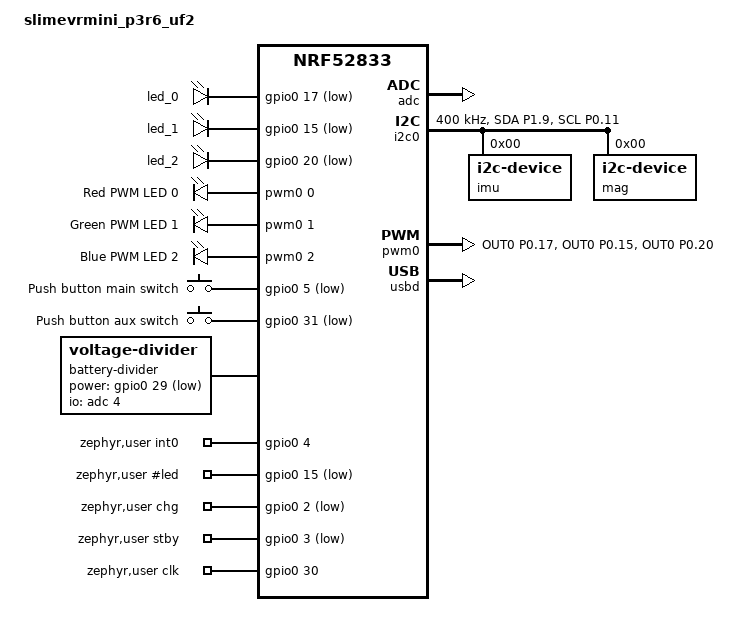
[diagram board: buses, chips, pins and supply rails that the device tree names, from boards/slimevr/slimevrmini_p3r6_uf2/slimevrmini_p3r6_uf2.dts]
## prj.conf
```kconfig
#CONFIG_NCS_SAMPLES_DEFAULTS
CONFIG_ASSERT=y
CONFIG_ASSERT_NO_COND_INFO=y
CONFIG_ASSERT_NO_MSG_INFO=y
CONFIG_RESET_ON_FATAL_ERROR=y

CONFIG_NCS_APPLICATION_BOOT_BANNER_STRING="SlimeVR-Tracker-nRF"
#CONFIG_NCS_BOOT_BANNER=n
CONFIG_BOOT_BANNER=n

CONFIG_ESB=y

CONFIG_ADC=y
CONFIG_ADC_NRFX_SAADC=y
CONFIG_FPU=y
CONFIG_I2C=y
CONFIG_SPI=y
CONFIG_PINCTRL=y

CONFIG_NVS=y
CONFIG_NVS_LOOKUP_CACHE=y
#not available on this sdk version
#CONFIG_NVS_INIT_BAD_MEMORY_REGION=y

CONFIG_POWEROFF=y
CONFIG_REBOOT=y

CONFIG_FLASH=y
CONFIG_FLASH_PAGE_LAYOUT=y
CONFIG_FLASH_MAP=y

CONFIG_SETTINGS=y
CONFIG_SETTINGS_RUNTIME=y
CONFIG_SETTINGS_NONE=y

CONFIG_MPU_ALLOW_FLASH_WRITE=y

CONFIG_RETAINED_MEM=y

CONFIG_USE_SEGGER_RTT=y
CONFIG_LOG=y
#CONFIG_PRINTK=y
CONFIG_LOG_MODE_DEFERRED=y
CONFIG_LOG_SPEED=y
CONFIG_LOG_BACKEND_RTT=y
CONFIG_CBPRINTF_FP_SUPPORT=y
CONFIG_ADC_LOG_LEVEL_OFF=y
CONFIG_LOG_FUNC_NAME_PREFIX_ERR=y
CONFIG_LOG_BUFFER_SIZE=1536
CONFIG_LOG_BACKEND_UART_AUTOSTART=n
CONFIG_LOG_PROCESS_THREAD_SLEEP_MS=50
CONFIG_LOG_PROCESS_THREAD_STACK_SIZE=1024

CONFIG_PWM=y
CONFIG_GPIO=y

CONFIG_CRC=y

CONFIG_NEWLIB_LIBC=y
CONFIG_NRFX_TIMER1=y

#speed up boot? (use internal rc oscillator)
CONFIG_CLOCK_CONTROL_NRF_K32SRC_RC=y
CONFIG_CLOCK_CONTROL_NRF_K32SRC_RC_CALIBRATION=n
#speed up boot? (synthesize lf clock)
#CONFIG_CLOCK_CONTROL_NRF_K32SRC_SYNTH=y

# dont need it
CONFIG_CRYPTO=n

# set timeout for 25ms, sufficient for ~1000 bytes
CONFIG_I2C_NRFX_TRANSFER_TIMEOUT=25

CONFIG_USB_DEVICE_HID=y
CONFIG_USB_DEVICE_VID=0x1209
CONFIG_USB_DEVICE_PID=0x7692
CONFIG_USB_HID_BOOT_PROTOCOL=y
CONFIG_USB_DEVICE_INITIALIZE_AT_BOOT=n
CONFIG_USB_CDC_ACM=y
CONFIG_UART_INTERRUPT_DRIVEN=y
CONFIG_USB_WORKQUEUE_STACK_SIZE=512

CONFIG_SERIAL=y
CONFIG_CONSOLE=y
CONFIG_RTT_CONSOLE=y
CONFIG_UART_CONSOLE=y
CONFIG_UART_LINE_CTRL=y

CONFIG_LOG=y
CONFIG_USB_DRIVER_LOG_LEVEL_ERR=y
CONFIG_USB_DEVICE_LOG_LEVEL_ERR=y
CONFIG_USB_CDC_ACM_LOG_LEVEL_OFF=y

CONFIG_LOG_BACKEND_UART=y

CONFIG_CONSOLE_SUBSYS=y
CONFIG_CONSOLE_GETLINE=y

CONFIG_NVS_LOG_LEVEL_WRN=y
CONFIG_USB_HID_LOG_LEVEL_WRN=y

CONFIG_USB_DEVICE_SOF=y
CONFIG_USB_HID_REPORTS=256

#CONFIG_USB_HID_POLL_INTERVAL_MS=1
CONFIG_USB_HID_POLL_INTERVAL_MS=0
CONFIG_HID_INTERRUPT_EP_MPS=64
#CONFIG_ENABLE_HID_INT_OUT_EP=y

CONFIG_SYSTEM_WORKQUEUE_STACK_SIZE=256
CONFIG_MAIN_STACK_SIZE=512

CONFIG_THREAD_NAME=y

# TODO: because of icm426, this will break things and needs to be raised to at least 3k
CONFIG_HEAP_MEM_POOL_SIZE=2048
CONFIG_ISR_STACK_SIZE=1024

CONFIG_PM_DEVICE=y

CONFIG_SENSOR_USE_MAG=n

CONFIG_LED_DEFAULT_COLOR_R=4000
CONFIG_LED_DEFAULT_COLOR_G=1500
CONFIG_LED_DEFAULT_COLOR_B=2500
```

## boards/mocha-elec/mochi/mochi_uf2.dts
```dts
// Copyright (c) 2024 Nordic Semiconductor ASA
// SPDX-License-Identifier: Apache-2.0

/dts-v1/;
#include <nordic/nrf52833_qiaa.dtsi>

//move to dtsi?
&pinctrl {
	pwm0_default: pwm0_default {
		group1 {
			psels = <NRF_PSEL(PWM_OUT0, 0, 20)>, // Red
				<NRF_PSEL(PWM_OUT1, 0, 9)>, // Green
				<NRF_PSEL(PWM_OUT2, 0, 17)>; // Blue
			nordic,drive-mode = <NRF_DRIVE_D0S1>;
		};
	};

	pwm0_sleep: pwm0_sleep {
		group1 {
			psels = <NRF_PSEL(PWM_OUT0, 0, 20)>, // Red
				<NRF_PSEL(PWM_OUT1, 0, 9)>, // Green
				<NRF_PSEL(PWM_OUT2, 0, 17)>; // Blue
			low-power-enable;
		};
	};

	spi3_default: spi3_default {
		group1 {
			psels = <NRF_PSEL(SPIM_MISO, 1, 9)>,
					<NRF_PSEL(SPIM_MOSI, 0, 5)>,
					<NRF_PSEL(SPIM_SCK, 0, 4)>;
		};
	};

	spi3_sleep: spi3_sleep {
		group1 {
			psels = <NRF_PSEL(SPIM_MISO, 1, 9)>,
					<NRF_PSEL(SPIM_MOSI, 0, 5)>,
					<NRF_PSEL(SPIM_SCK, 0, 4)>;
			low-power-enable;
		};
	};
};
//end

/ {
	model = "mochi_uf2";
	compatible = "mochi_uf2";

	chosen {
		zephyr,sram = &sram0;
		zephyr,flash = &flash0;
		zephyr,console = &cdc_acm_uart0;
		zephyr,shell-uart = &cdc_acm_uart0;
	};

	pwmleds {
		compatible = "pwm-leds";
		pwm_led0: pwm_led_0 {
			pwms = <&pwm0 0 PWM_MSEC(1) PWM_POLARITY_NORMAL>;
		};
		pwm_led1: pwm_led_1 {
			pwms = <&pwm0 1 PWM_MSEC(1) PWM_POLARITY_NORMAL>;
		};
		pwm_led2: pwm_led_2 {
			pwms = <&pwm0 2 PWM_MSEC(1) PWM_POLARITY_NORMAL>;
		};
	};

	leds {
        compatible = "gpio-leds";
        led0: led_0 {
            gpios = <&gpio0 20 GPIO_OPEN_SOURCE>;
        };
        led1: led_1 {
            gpios = <&gpio0 9 GPIO_OPEN_SOURCE>;
        };
        led2: led_2 {
            gpios = <&gpio0 17 GPIO_OPEN_SOURCE>;
        };
    };

	buttons {
		compatible = "gpio-keys";
		button0: button_0 {
			gpios = <&gpio0 15 (GPIO_PULL_UP | GPIO_ACTIVE_LOW)>;
			label = "Push button switch 0";
		};
	};

	aliases {
		sw0 = &button0;
		pwm-led0 = &pwm_led0;
		pwm-led1 = &pwm_led1;
		pwm-led2 = &pwm_led2;
		led0 = &led0;
		led1 = &led1;
		led2 = &led2;
	};

	battery-divider {
		compatible = "voltage-divider";
		status = "okay";
		io-channels = <&adc 7>;
		output-ohms = <3300000>;
		full-ohms = <(5600000+3300000)>;
	};

	zephyr,user {
		int0-gpios = <&gpio0 11 0>;
		chg-gpios = <&gpio0 28 (GPIO_ACTIVE_LOW | GPIO_PULL_UP)>;
		chg-en-gpios = <&gpio0 2 (GPIO_ACTIVE_HIGH | GPIO_PULL_UP)>;
		stby-gpios = <&gpio0 29 (GPIO_ACTIVE_LOW | GPIO_PULL_UP)>;
		clk-gpios = <&gpio0 30 (GPIO_OPEN_DRAIN)>;
		led0-gpios = <&gpio0 20 (GPIO_OPEN_SOURCE)>;
		led1-gpios = <&gpio0 9 (GPIO_OPEN_SOURCE)>;
		led2-gpios = <&gpio0 17 (GPIO_OPEN_SOURCE)>;
	};

};

&reg1 {
	regulator-initial-mode = <NRF5X_REG_MODE_DCDC>;
};

&adc {
	status = "okay";
};

&gpiote {
	status = "okay";
};

&gpio0 {
	status = "okay";
};

&gpio1 {
	status = "okay";
};

&pwm0 {
	status = "okay";
	pinctrl-0 = <&pwm0_default>;
	pinctrl-1 = <&pwm0_sleep>;
	pinctrl-names = "default", "sleep";
};

zephyr_udc0: &usbd {
	compatible = "nordic,nrf-usbd";
	status = "okay";
	cdc_acm_uart0: cdc_acm_uart0 {
		compatible = "zephyr,cdc-acm-uart";
	};
};

&nfct {
	status = "disabled";
};

&spi3 {
	compatible = "nordic,nrf-spim";
	status = "okay";
	max-frequency = <DT_FREQ_M(24)>;
	pinctrl-0 = <&spi3_default>;
	pinctrl-1 = <&spi3_sleep>;
	pinctrl-names = "default", "sleep";
	cs-gpios = <&gpio0 1 GPIO_ACTIVE_LOW>;

	imu_spi: imu_spi@0 {
		compatible = "vnd,spi-device";
		spi-max-frequency = <DT_FREQ_M(24)>;
		label = "imu-spi";
		reg = <0>;
	};
};
```

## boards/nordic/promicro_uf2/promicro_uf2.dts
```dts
// Copyright (c) 2024 Nordic Semiconductor ASA
// SPDX-License-Identifier: Apache-2.0

/dts-v1/;
#include <nordic/nrf52840_qiaa.dtsi>

//move to dtsi?
&pinctrl {
	i2c0_default: i2c0_default {
		group1 {
			psels = <NRF_PSEL(TWIM_SDA, 0, 6)>, <NRF_PSEL(TWIM_SCL, 0, 8)>;
			bias-disable;
		};
	};

	i2c0_sleep: i2c0_sleep {
		group1 {
			psels = <NRF_PSEL(TWIM_SDA, 0, 6)>, <NRF_PSEL(TWIM_SCL, 0, 8)>;
			bias-disable;
			low-power-enable;
		};
	};

	pwm0_default: pwm0_default {
		group1 {
			psels = <NRF_PSEL(PWM_OUT0, 0, 15)>;
			nordic,drive-mode = <NRF_DRIVE_D0S1>;
		};
	};

	pwm0_sleep: pwm0_sleep {
		group1 {
			psels = <NRF_PSEL(PWM_OUT0, 0, 15)>;
			low-power-enable;
		};
	};

	pwm1_default: pwm1_default {
		group1 {
			psels = <NRF_PIN_DISCONNECTED>;
		};
	};

	pwm1_sleep: pwm1_sleep {
		group1 {
			psels = <NRF_PIN_DISCONNECTED>;
			low-power-enable;
		};
	};

	spi3_default: spi3_default {
		group1 {
			psels = <NRF_PSEL(SPIM_MISO, 0, 24)>,
					<NRF_PSEL(SPIM_MOSI, 0, 6)>,
					<NRF_PSEL(SPIM_SCK, 0, 8)>;
		};
	};

	spi3_sleep: spi3_sleep {
		group1 {
			psels = <NRF_PSEL(SPIM_MISO, 0, 24)>,
					<NRF_PSEL(SPIM_MOSI, 0, 6)>,
					<NRF_PSEL(SPIM_SCK, 0, 8)>;
			low-power-enable;
		};
	};
};
//end

/ {
	model = "promicro_uf2";
	compatible = "promicro_uf2";

	chosen {
		zephyr,sram = &sram0;
		zephyr,flash = &flash0;
		zephyr,console = &cdc_acm_uart0;
		zephyr,shell-uart = &cdc_acm_uart0;
	};

	pwmleds {
		compatible = "pwm-leds";
		pwm_led0: pwm_led_0 {
			pwms = <&pwm0 0 PWM_MSEC(1) PWM_POLARITY_NORMAL>;
		};
	};

	buttons {
		compatible = "gpio-keys";
		button0: button_0 {
			gpios = <&gpio1 0 (GPIO_PULL_UP | GPIO_ACTIVE_LOW)>;
			label = "Push button switch 0";
		};
	};

	aliases {
		// sw0 = &button0; // Uncomment to Enable SW0
		pwm-led0 = &pwm_led0;
	};

	pwmclock: pwmclock {
		compatible = "pwm-clock";
		#clock-cells = <1>;
		pwms = <&pwm1 0 PWM_HZ(32768) PWM_POLARITY_NORMAL>;
	};

	battery-divider {
		compatible = "voltage-divider";
		status = "okay";
		io-channels = <&adc 12>; // Measure VDDHDIV5
		output-ohms = <1>;
		full-ohms = <5>;
	};

	zephyr,user {
		int0-gpios = <&gpio0 17 0>;
		led-gpios = <&gpio0 15 GPIO_OPEN_SOURCE>;
		clk-gpios = <&gpio0 20 GPIO_OPEN_DRAIN>; // Uncomment and set to correct pin if using an external clock (crystal oscillator)
		vcc-gpios = <&gpio0 31 0>;
	};

};

&reg0 {
	status = "okay";
};

&reg1 {
	regulator-initial-mode = <NRF5X_REG_MODE_DCDC>;
};

&adc {
	status = "okay";
};

&gpiote {
	status = "okay";
};

&gpio0 {
	status = "okay";
};

&gpio1 {
	status = "okay";
};

&i2c0 {
	compatible = "nordic,nrf-twim";
	status = "okay";
	zephyr,concat-buf-size = <1023>;
	zephyr,flash-buf-max-size = <1023>;
	clock-frequency = <I2C_BITRATE_FAST>;
	pinctrl-0 = <&i2c0_default>;
	pinctrl-1 = <&i2c0_sleep>;
	pinctrl-names = "default", "sleep";

	imu: imu@0 { // any address out of range (00, 7f, etc. will search all addresses and stored address first if available, specify an address here to search first otherwise
		compatible = "i2c-device";
		label = "imu";
		reg = <0>;
	};

	mag: mag@0 {
		compatible = "i2c-device";
		label = "mag";
		reg = <0>;
	};

};

&pwm0 {
	status = "okay";
	pinctrl-0 = <&pwm0_default>;
	pinctrl-1 = <&pwm0_sleep>;
	pinctrl-names = "default", "sleep";
};

&pwm1 {
	status = "okay";
	pinctrl-0 = <&pwm1_default>;
	pinctrl-1 = <&pwm1_sleep>;
	pinctrl-names = "default", "sleep";
};

zephyr_udc0: &usbd {
	compatible = "nordic,nrf-usbd";
	status = "okay";
	cdc_acm_uart0: cdc_acm_uart0 {
		compatible = "zephyr,cdc-acm-uart";
	};
};

&cryptocell {
	status = "disabled";
};

&nfct {
	status = "disabled";
};

&spi3 {
	compatible = "nordic,nrf-spim";
	status = "okay";
	max-frequency = <DT_FREQ_M(24)>;
	pinctrl-0 = <&spi3_default>;
	pinctrl-1 = <&spi3_sleep>;
	pinctrl-names = "default", "sleep";
	cs-gpios = <&gpio0 22 GPIO_ACTIVE_LOW>;

	imu_spi: imu_spi@0 {
		compatible = "vnd,spi-device";
		spi-max-frequency = <DT_FREQ_M(24)>;
		label = "imu-spi";
		reg = <0>;
	};
};
```

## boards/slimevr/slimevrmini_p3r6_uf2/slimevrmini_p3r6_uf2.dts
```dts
// Copyright (c) 2024 Nordic Semiconductor ASA
// SPDX-License-Identifier: Apache-2.0

/dts-v1/;
#include <nordic/nrf52833_qiaa.dtsi>

//move to dtsi?
&pinctrl {
	i2c0_default: i2c0_default {
		group1 {
			psels = <NRF_PSEL(TWIM_SDA, 1, 9)>, <NRF_PSEL(TWIM_SCL, 0, 11)>;
			bias-disable;
		};
	};

	i2c0_sleep: i2c0_sleep {
		group1 {
			psels = <NRF_PSEL(TWIM_SDA, 1, 9)>, <NRF_PSEL(TWIM_SCL, 0, 11)>;
			bias-disable;
			low-power-enable;
		};
	};

	pwm0_default: pwm0_default {
		group1 {
			psels = <NRF_PSEL(PWM_OUT0, 0, 17)>,
				<NRF_PSEL(PWM_OUT0, 0, 15)>,
				<NRF_PSEL(PWM_OUT0, 0, 20)>;
			nordic,drive-mode = <NRF_DRIVE_D0S1>;
			nordic,invert;
		};
	};

	pwm0_sleep: pwm0_sleep {
		group1 {
			psels = <NRF_PSEL(PWM_OUT0, 0, 17)>,
				<NRF_PSEL(PWM_OUT0, 0, 15)>,
				<NRF_PSEL(PWM_OUT0, 0, 20)>;
			low-power-enable;
		};
	};
};
//end

/ {
	model = "slimevrmini_p3r6_uf2";
	compatible = "slimevrmini_p3r6_uf2";

	chosen {
		zephyr,sram = &sram0;
		zephyr,flash = &flash0;
		zephyr,console = &cdc_acm_uart0;
		zephyr,shell-uart = &cdc_acm_uart0;
	};
	
	leds {
		compatible = "gpio-leds";
		status = "okay";
		led_0: led_0 {
			gpios = <&gpio0 17 (GPIO_OPEN_DRAIN | GPIO_ACTIVE_LOW)>;
		};
		led_1: led_1 {
			gpios = <&gpio0 15 (GPIO_OPEN_DRAIN | GPIO_ACTIVE_LOW)>;
		};
		led_2: led_2 {
			gpios = <&gpio0 20 (GPIO_OPEN_DRAIN | GPIO_ACTIVE_LOW)>;
		};
	};

	pwmleds {
		compatible = "pwm-leds";
		pwm_led0: pwm_led_0 {
			pwms = <&pwm0 0 PWM_MSEC(1) PWM_POLARITY_INVERTED>;
			label = "Red PWM LED 0";
		};
		pwm_led1: pwm_led_1 {
			pwms = <&pwm0 1 PWM_MSEC(1) PWM_POLARITY_INVERTED>;
			label = "Green PWM LED 1";
		};
		pwm_led2: pwm_led_2 {
			pwms = <&pwm0 2 PWM_MSEC(1) PWM_POLARITY_INVERTED>;
			label = "Blue PWM LED 2";
		};
	};

	buttons {
		compatible = "gpio-keys";
		button0: button_0 {
			gpios = <&gpio0 5 (GPIO_PULL_UP | GPIO_ACTIVE_LOW)>;
			label = "Push button main switch";
		};
		button1: button_1 {
			gpios = <&gpio0 31 (GPIO_PULL_UP | GPIO_ACTIVE_LOW)>;
			label = "Push button aux switch";
		};
	};

	aliases {
		sw0 = &button0;
		sw1 = &button1;
		led0 = &led_0;
		led1 = &led_1;
		led2 = &led_2;
		pwm-led0 = &pwm_led0;
		pwm-led1 = &pwm_led1;
		pwm-led2 = &pwm_led2;
	};

	battery-divider {
		compatible = "voltage-divider";
		status = "okay";
		io-channels = <&adc 4>;
		output-ohms = <40200>;
		full-ohms = <(100000+40200)>;
		power-gpios = <&gpio0 29 (GPIO_OPEN_DRAIN | GPIO_ACTIVE_LOW)>;
	};

	zephyr,user {
		int0-gpios = <&gpio0 4 0>;
		#led-gpios = <&gpio0 15 (GPIO_OPEN_DRAIN | GPIO_ACTIVE_LOW)>;
		chg-gpios = <&gpio0 2 (GPIO_ACTIVE_LOW | GPIO_PULL_UP)>;
		stby-gpios = <&gpio0 3 (GPIO_ACTIVE_LOW | GPIO_PULL_UP)>;
		clk-gpios = <&gpio0 30 (GPIO_OPEN_DRAIN)>;
	};

};

&reg1 {
	regulator-initial-mode = <NRF5X_REG_MODE_DCDC>;
};

&adc {
	status = "okay";
};

&gpiote {
	status = "okay";
};

&gpio0 {
	status = "okay";
};

&gpio1 {
	status = "okay";
};

&i2c0 {
	compatible = "nordic,nrf-twim";
	status = "okay";
	zephyr,concat-buf-size = <255>; // probable max for nrf52832
	zephyr,flash-buf-max-size = <255>; // probable max for nrf52832
	clock-frequency = <I2C_BITRATE_FAST>;
	pinctrl-0 = <&i2c0_default>;
	pinctrl-1 = <&i2c0_sleep>;
	pinctrl-names = "default", "sleep";

	imu: imu@0 { // any address out of range (00, 7f, etc. will search all addresses and stored address first if available, specify an address here to search first otherwise
		compatible = "i2c-device";
		label = "imu";
		reg = <0>;
	};

	mag: mag@0 {
		compatible = "i2c-device";
		label = "mag";
		reg = <0>;
	};

};

&pwm0 {
	status = "okay";
	pinctrl-0 = <&pwm0_default>;
	pinctrl-1 = <&pwm0_sleep>;
	pinctrl-names = "default", "sleep";
};

zephyr_udc0: &usbd {
	compatible = "nordic,nrf-usbd";
	status = "okay";
	cdc_acm_uart0: cdc_acm_uart0 {
		compatible = "zephyr,cdc-acm-uart";
	};
};

&nfct {
	status = "disabled";
};
```

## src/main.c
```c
/*
	SlimeVR Code is placed under the MIT license
	Copyright (c) 2025 SlimeVR Contributors

	Permission is hereby granted, free of charge, to any person obtaining a copy
	of this software and associated documentation files (the "Software"), to deal
	in the Software without restriction, including without limitation the rights
	to use, copy, modify, merge, publish, distribute, sublicense, and/or sell
	copies of the Software, and to permit persons to whom the Software is
	furnished to do so, subject to the following conditions:

	The above copyright notice and this permission notice shall be included in
	all copies or substantial portions of the Software.

	THE SOFTWARE IS PROVIDED "AS IS", WITHOUT WARRANTY OF ANY KIND, EXPRESS OR
	IMPLIED, INCLUDING BUT NOT LIMITED TO THE WARRANTIES OF MERCHANTABILITY,
	FITNESS FOR A PARTICULAR PURPOSE AND NONINFRINGEMENT. IN NO EVENT SHALL THE
	AUTHORS OR COPYRIGHT HOLDERS BE LIABLE FOR ANY CLAIM, DAMAGES OR OTHER
	LIABILITY, WHETHER IN AN ACTION OF CONTRACT, TORT OR OTHERWISE, ARISING FROM,
	OUT OF OR IN CONNECTION WITH THE SOFTWARE OR THE USE OR OTHER DEALINGS IN
	THE SOFTWARE.
*/
#include "globals.h"
#include "system/system.h"
//#include "timer.h"
#include "connection/esb.h"
#include "sensor/sensor.h"

#include <zephyr/sys/reboot.h>

#define DFU_DBL_RESET_MEM 0x20007F7C
#define DFU_DBL_RESET_APP 0x4ee5677e

static uint32_t *dbl_reset_mem __attribute__((unused)) = ((uint32_t *)DFU_DBL_RESET_MEM); // retained

LOG_MODULE_REGISTER(main, LOG_LEVEL_INF);

#if DT_NODE_HAS_PROP(DT_ALIAS(sw0), gpios)
#define BUTTON_EXISTS true
#endif

#define DFU_EXISTS CONFIG_BUILD_OUTPUT_UF2 || CONFIG_BOARD_HAS_NRF5_BOOTLOADER
#define ADAFRUIT_BOOTLOADER CONFIG_BUILD_OUTPUT_UF2

int main(void) {
#if IGNORE_RESET && BUTTON_EXISTS
	bool reset_pin_reset = false;
#else
#ifdef NRF_RESET
	bool reset_pin_reset = NRF_RESET->RESETREAS & RESET_RESETREAS_RESETPIN_Msk;
	NRF_RESET->RESETREAS = NRF_RESET->RESETREAS; // Clear RESETREAS
#else
	bool reset_pin_reset = NRF_POWER->RESETREAS & POWER_RESETREAS_RESETPIN_Msk;
	NRF_POWER->RESETREAS = NRF_POWER->RESETREAS; // Clear RESETREAS
#endif
#endif

	set_led(SYS_LED_PATTERN_ON, SYS_LED_PRIORITY_BOOT); // Boot LED

	uint8_t reboot_counter = reboot_counter_read();
	bool booting_from_shutdown = !reboot_counter && (reset_pin_reset || button_read()); // 0 means from user shutdown or failed ram validation

	if (booting_from_shutdown) {
		set_led(SYS_LED_PATTERN_ONESHOT_POWERON, SYS_LED_PRIORITY_BOOT);
	}

	bool docked = dock_read();

	uint8_t reset_mode = -1;

	if (reboot_counter == 0) {
		reboot_counter = 100;
	} else if (reboot_counter > 200) {
		reboot_counter = 200;  // How did you get here
	}
	reset_mode = reboot_counter - 100;
	if ((reset_pin_reset || button_read())
		&& !docked)  // Count pin resets while not docked
	{
		reboot_counter++;
		reboot_counter_write(reboot_counter);
		LOG_INF("Reset count: %u", reboot_counter);
#if ADAFRUIT_BOOTLOADER && !(IGNORE_RESET && BUTTON_EXISTS) // Using Adafruit bootloader, skip DFU if reset button is in use
		(*dbl_reset_mem) = DFU_DBL_RESET_APP; // Skip DFU
#endif
		k_msleep(1000); // Wait before clearing counter and continuing
	}
	reboot_counter_write(100);
	if (!reset_pin_reset && !button_read() && reset_mode == 0) // Only need to check once, if the button is pressed again an interrupt is triggered from before
		reset_mode = -1; // Cancel reset_mode (shutdown)

#if USER_SHUTDOWN_ENABLED
	bool charging = chg_read();
	bool charged = stby_read();
	bool plugged = vin_read();

	if (reset_mode == 0 && !booting_from_shutdown && !charging && !charged
		&& !plugged) {  // Reset mode user shutdown, only if unplugged and undocked
		sys_user_shutdown();
	}
#endif

	if (!booting_from_shutdown) {  // ONESHOT_POWERON automatically sets LED off
		set_led(SYS_LED_PATTERN_OFF, SYS_LED_PRIORITY_BOOT);
	}

	sys_reset_mode(reset_mode);

	return 0;
}
```

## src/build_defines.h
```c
/*
	SlimeVR Code is placed under the MIT license
	Copyright (c) 2025 SlimeVR Contributors

	Permission is hereby granted, free of charge, to any person obtaining a copy
	of this software and associated documentation files (the "Software"), to deal
	in the Software without restriction, including without limitation the rights
	to use, copy, modify, merge, publish, distribute, sublicense, and/or sell
	copies of the Software, and to permit persons to whom the Software is
	furnished to do so, subject to the following conditions:

	The above copyright notice and this permission notice shall be included in
	all copies or substantial portions of the Software.

	THE SOFTWARE IS PROVIDED "AS IS", WITHOUT WARRANTY OF ANY KIND, EXPRESS OR
	IMPLIED, INCLUDING BUT NOT LIMITED TO THE WARRANTIES OF MERCHANTABILITY,
	FITNESS FOR A PARTICULAR PURPOSE AND NONINFRINGEMENT. IN NO EVENT SHALL THE
	AUTHORS OR COPYRIGHT HOLDERS BE LIABLE FOR ANY CLAIM, DAMAGES OR OTHER
	LIABILITY, WHETHER IN AN ACTION OF CONTRACT, TORT OR OTHERWISE, ARISING FROM,
	OUT OF OR IN CONNECTION WITH THE SOFTWARE OR THE USE OR OTHER DEALINGS IN
	THE SOFTWARE.
*/
#include "sensor/sensors_enum.h"
#include "system/status.h"

#include "app_version.h"

#define FW_NAME CONFIG_NCS_APPLICATION_BOOT_BANNER_STRING
#define FW_VERSION_MAJOR APP_VERSION_MAJOR
#define FW_VERSION_MINOR APP_VERSION_MINOR
#define FW_VERSION_PATCH APP_PATCHLEVEL

static uint8_t get_server_constant_imu_id(int id) __attribute__((unused));
static uint8_t get_server_constant_mag_id(int id) __attribute__((unused));
static uint8_t get_server_constant_tracker_status(int status) __attribute__((unused));

// constants from server, should include BoardType, MCUType, IMUType, MagType (not yet)
// https://github.com/SlimeVR/SlimeVR-Server/blob/main/server/core/src/main/java/dev/slimevr/tracking/trackers/udp/FirmwareConstants.kt
#define SVR_IMU_UNKNOWN 0
#define SVR_IMU_MPU9250 1
#define SVR_IMU_MPU6500 2
#define SVR_IMU_BNO080 3
#define SVR_IMU_BNO085 4
#define SVR_IMU_BNO055 5
#define SVR_IMU_MPU6050 6
#define SVR_IMU_BNO086 7
#define SVR_IMU_BMI160 8
#define SVR_IMU_ICM20948 9
#define SVR_IMU_ICM42688 10
#define SVR_IMU_BMI270 11
#define SVR_IMU_LSM6DS3TRC 12
#define SVR_IMU_LSM6DSV 13
#define SVR_IMU_LSM6DSO 14
#define SVR_IMU_LSM6DSR 15
#define SVR_IMU_ICM45686 16
#define SVR_IMU_ICM45605 17
#define SVR_IMU_ADC_RESISTANCE 18
#define SVR_IMU_DEV_RESERVED 250

#define SVR_BOARD_UNKNOWN 0
#define SVR_BOARD_SLIMEVR_LEGACY 1
#define SVR_BOARD_SLIMEVR_DEV 2
#define SVR_BOARD_NODEMCU 3
#define SVR_BOARD_CUSTOM 4
#define SVR_BOARD_WROOM32 5
#define SVR_BOARD_WEMOSD1MINI 6
#define SVR_BOARD_TTGO_TBASE 7
#define SVR_BOARD_ESP01 8
#define SVR_BOARD_SLIMEVR 9
#define SVR_BOARD_LOLIN_C3_MINI 10
#define SVR_BOARD_BEETLE32C32 11
#define SVR_BOARD_ES32C3DEVKITM1 12
#define SVR_BOARD_OWOTRACK 13
#define SVR_BOARD_WRANGLER 14
#define SVR_BOARD_MOCOPI 15
#define SVR_BOARD_WEMOSWROOM02 16
#define SVR_BOARD_XIAO_ESP32C3 17
#define SVR_BOARD_HARITORA 18
#define SVR_BOARD_ESP32C6DEVKITC1 19
#define SVR_BOARD_GLOVE_IMU_SLIMEVR_DEV 20
#define SVR_BOARD_DEV_RESERVED 250

#define SVR_MCU_UNKNOWN 0
#define SVR_MCU_ESP8266 1
#define SVR_MCU_ESP32 2
#define SVR_MCU_OWOTRACK_ANDROID 3
#define SVR_MCU_WRANGLER 4
#define SVR_MCU_OWOTRACK_IOS 5
#define SVR_MCU_ESP32_C3 6
#define SVR_MCU_MOCOPI 7
#define SVR_MCU_HARITORA 8
#define SVR_MCU_DEV_RESERVED 250

#define SVR_MAG_STATUS_NOT_SUPPORTED 0
#define SVR_MAG_STATUS_DISABLED 1
#define SVR_MAG_STATUS_ENABLED 2

// https://github.com/SlimeVR/SlimeVR-Server/blob/main/server/core/src/main/java/dev/slimevr/tracking/trackers/TrackerStatus.kt
#define SVR_STATUS_DISCONNECTED 0
#define SVR_STATUS_OK 1
#define SVR_STATUS_BUSY 2
#define SVR_STATUS_ERROR 3
#define SVR_STATUS_OCCLUDED 4
#define SVR_STATUS_TIMED_OUT 5

// does not exist in server enums yet
#if CONFIG_BOARD_NRF52DK
#define FW_BOARD 0
#elif CONFIG_BOARD_NRF54L15DK
#define FW_BOARD 0
#elif CONFIG_BOARD_NRF5340DK
#define FW_BOARD 0
#elif CONFIG_BOARD_NRF52840DK
#define FW_BOARD 0
#elif CONFIG_BOARD_NRF52840DONGLE
#define FW_BOARD 0
#elif CONFIG_BOARD_SLIMENRF_R1
#define FW_BOARD 0
#elif CONFIG_BOARD_SLIMENRF_R2
#define FW_BOARD 0
#elif CONFIG_BOARD_SLIMENRF_R3 || CONFIG_BOARD_SLIMENRF_R3_UF2
#define FW_BOARD 0
#elif CONFIG_BOARD_SLIMEVRMINI_P1_UF2
#define FW_BOARD 0
#elif CONFIG_BOARD_SLIMEVRMINI_P2_UF2
#define FW_BOARD 0
#elif CONFIG_BOARD_SUPERMINI_UF2
#define FW_BOARD 0
#elif CONFIG_BOARD_XIAO_BLE
#define FW_BOARD 0
#else
#define FW_BOARD 0
#endif

// does not exist in server enums yet
#if CONFIG_SOC_NRF54L15
#define FW_MCU 0
#elif CONFIG_SOC_NRF54L10
#define FW_MCU 0
#elif CONFIG_SOC_NRF54L05
#define FW_MCU 0
#elif CONFIG_SOC_NRF5340
#define FW_MCU 0
#elif CONFIG_SOC_NRF52840
#define FW_MCU 0
#elif CONFIG_SOC_NRF52833
#define FW_MCU 0
#elif CONFIG_SOC_NRF52820
#define FW_MCU 0
#elif CONFIG_SOC_NRF52811
#define FW_MCU 0
#elif CONFIG_SOC_NRF52810
#define FW_MCU 0
#elif CONFIG_SOC_NRF52832
#define FW_MCU 0
#elif CONFIG_SOC_NRF52805
#define FW_MCU 0
#else
#define FW_MCU 0
#endif

static uint8_t get_server_constant_imu_id(int id)
{
	switch (id)
	{
	case IMU_BMI160:
		return SVR_IMU_BMI160;
	case IMU_BMI270:
		return SVR_IMU_BMI270;
	case IMU_BMI323:
		return 0;
	case IMU_MPU6050:
		return SVR_IMU_MPU6050;
	case IMU_MPU6500:
		return SVR_IMU_MPU6500;
	case IMU_MPU9250:
		return SVR_IMU_MPU9250;
	case IMU_ICM20948:
		return SVR_IMU_ICM20948;
	case IMU_ICM42688:
		return SVR_IMU_ICM42688;
	case IMU_ICM45686:
		return 0;
	case IMU_ISM330IS:
		return 0;
	case IMU_LSM6DS3:
		return 0;
	case IMU_LSM6DSM:
		return SVR_IMU_LSM6DS3TRC;
	case IMU_LSM6DSR:
		return SVR_IMU_LSM6DSR;
	case IMU_LSM6DSO:
		return SVR_IMU_LSM6DSO;
	case IMU_LSM6DST:
		return 0;
	case IMU_LSM6DSV:
		return SVR_IMU_LSM6DSV;
	case IMU_ISM330BX:
		return SVR_IMU_LSM6DSV; // not really
	default:
		return SVR_IMU_UNKNOWN;
	}
}

// does not exist in server enums yet
static uint8_t get_server_constant_mag_id(int id)
{
	if (id < 0)
		return SVR_MAG_STATUS_NOT_SUPPORTED;
	else
		return MAG_ENABLED ? SVR_MAG_STATUS_ENABLED : SVR_MAG_STATUS_DISABLED; // TODO: toggle from server
//	switch (id)
//	{
//	case MAG_HMC5883L:
//		return 0;
//	case MAG_QMC5883L:
//		return 0;
//	case MAG_AK8963:
//		return 0;
//	case MAG_AK09916:
//		return 0;
//	case MAG_AK09940:
//		return 0;
//	case MAG_BMM150:
//		return 0;
//	case MAG_BMM350:
//		return 0;
//	case MAG_IST8306:
//		return 0;
//	case MAG_IST8308:
//		return 0;
//	case MAG_IST8320:
//		return 0;
//	case MAG_IST8321:
//		return 0;
//	case MAG_LIS2MDL:
//		return 0;
//	case MAG_LIS3MDL:
//		return 0;
//	case MAG_MMC34160PJ:
//		return 0;
//	case MAG_MMC3630KJ:
//		return 0;
//	case MAG_MMC5633NJL:
//		return 0;
//	case MAG_MMC5616WA:
//		return 0;
//	case MAG_MMC5983MA:
//		return 0;
//	default:
//		return 0;
//	}
}

static uint8_t get_server_constant_tracker_status(int status)
{
	if (status & (SYS_STATUS_SENSOR_ERROR | SYS_STATUS_SYSTEM_ERROR))
		return SVR_STATUS_ERROR;
	else
		return SVR_STATUS_OK;
}

// https://stackoverflow.com/questions/11697820/how-to-use-date-and-time-predefined-macros-in-as-two-integers-then-stri
#define COMPUTE_BUILD_YEAR \
	( \
		(__DATE__[ 7] - '0') * 1000 + \
		(__DATE__[ 8] - '0') *  100 + \
		(__DATE__[ 9] - '0') *   10 + \
		(__DATE__[10] - '0') \
	)

#define COMPUTE_BUILD_DAY \
	( \
		((__DATE__[4] >= '0') ? (__DATE__[4] - '0') * 10 : 0) + \
		(__DATE__[5] - '0') \
	)

#define BUILD_MONTH_IS_JAN (__DATE__[0] == 'J' && __DATE__[1] == 'a' && __DATE__[2] == 'n')
#define BUILD_MONTH_IS_FEB (__DATE__[0] == 'F')
#define BUILD_MONTH_IS_MAR (__DATE__[0] == 'M' && __DATE__[1] == 'a' && __DATE__[2] == 'r')
#define BUILD_MONTH_IS_APR (__DATE__[0] == 'A' && __DATE__[1] == 'p')
#define BUILD_MONTH_IS_MAY (__DATE__[0] == 'M' && __DATE__[1] == 'a' && __DATE__[2] == 'y')
#define BUILD_MONTH_IS_JUN (__DATE__[0] == 'J' && __DATE__[1] == 'u' && __DATE__[2] == 'n')
#define BUILD_MONTH_IS_JUL (__DATE__[0] == 'J' && __DATE__[1] == 'u' && __DATE__[2] == 'l')
#define BUILD_MONTH_IS_AUG (__DATE__[0] == 'A' && __DATE__[1] == 'u')
#define BUILD_MONTH_IS_SEP (__DATE__[0] == 'S')
#define BUILD_MONTH_IS_OCT (__DATE__[0] == 'O')
#define BUILD_MONTH_IS_NOV (__DATE__[0] == 'N')
#define BUILD_MONTH_IS_DEC (__DATE__[0] == 'D')

#define COMPUTE_BUILD_MONTH \
	( \
		(BUILD_MONTH_IS_JAN) ?  1 : \
		(BUILD_MONTH_IS_FEB) ?  2 : \
		(BUILD_MONTH_IS_MAR) ?  3 : \
		(BUILD_MONTH_IS_APR) ?  4 : \
		(BUILD_MONTH_IS_MAY) ?  5 : \
		(BUILD_MONTH_IS_JUN) ?  6 : \
		(BUILD_MONTH_IS_JUL) ?  7 : \
		(BUILD_MONTH_IS_AUG) ?  8 : \
		(BUILD_MONTH_IS_SEP) ?  9 : \
		(BUILD_MONTH_IS_OCT) ? 10 : \
		(BUILD_MONTH_IS_NOV) ? 11 : \
		(BUILD_MONTH_IS_DEC) ? 12 : \
		/* error default */  99 \
	)

#define COMPUTE_BUILD_HOUR ((__TIME__[0] - '0') * 10 + __TIME__[1] - '0')
#define COMPUTE_BUILD_MIN  ((__TIME__[3] - '0') * 10 + __TIME__[4] - '0')
#define COMPUTE_BUILD_SEC  ((__TIME__[6] - '0') * 10 + __TIME__[7] - '0')

#define BUILD_DATE_IS_BAD (__DATE__[0] == '?')

#define BUILD_YEAR  ((BUILD_DATE_IS_BAD) ? 99 : COMPUTE_BUILD_YEAR)
#define BUILD_MONTH ((BUILD_DATE_IS_BAD) ? 99 : COMPUTE_BUILD_MONTH)
#define BUILD_DAY   ((BUILD_DATE_IS_BAD) ? 99 : COMPUTE_BUILD_DAY)

#define BUILD_TIME_IS_BAD (__TIME__[0] == '?')

#define BUILD_HOUR  ((BUILD_TIME_IS_BAD) ? 99 :  COMPUTE_BUILD_HOUR)
#define BUILD_MIN   ((BUILD_TIME_IS_BAD) ? 99 :  COMPUTE_BUILD_MIN)
#define BUILD_SEC   ((BUILD_TIME_IS_BAD) ? 99 :  COMPUTE_BUILD_SEC)

#define TOSTRING(x) STRINGIFY(x)

#define FW_STRING FW_NAME " " APP_VERSION_EXTENDED_STRING " "\
	"(Commit " TOSTRING(APP_BUILD_VERSION) ", Build %d-%02d-%02d %02d:%02d:%02d)\n",\
	BUILD_YEAR, BUILD_MONTH, BUILD_DAY, BUILD_HOUR, BUILD_MIN, BUILD_SEC
```

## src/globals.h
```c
/*
	SlimeVR Code is placed under the MIT license
	Copyright (c) 2025 SlimeVR Contributors

	Permission is hereby granted, free of charge, to any person obtaining a copy
	of this software and associated documentation files (the "Software"), to deal
	in the Software without restriction, including without limitation the rights
	to use, copy, modify, merge, publish, distribute, sublicense, and/or sell
	copies of the Software, and to permit persons to whom the Software is
	furnished to do so, subject to the following conditions:

	The above copyright notice and this permission notice shall be included in
	all copies or substantial portions of the Software.

	THE SOFTWARE IS PROVIDED "AS IS", WITHOUT WARRANTY OF ANY KIND, EXPRESS OR
	IMPLIED, INCLUDING BUT NOT LIMITED TO THE WARRANTIES OF MERCHANTABILITY,
	FITNESS FOR A PARTICULAR PURPOSE AND NONINFRINGEMENT. IN NO EVENT SHALL THE
	AUTHORS OR COPYRIGHT HOLDERS BE LIABLE FOR ANY CLAIM, DAMAGES OR OTHER
	LIABILITY, WHETHER IN AN ACTION OF CONTRACT, TORT OR OTHERWISE, ARISING FROM,
	OUT OF OR IN CONNECTION WITH THE SOFTWARE OR THE USE OR OTHER DEALINGS IN
	THE SOFTWARE.
*/
#ifndef SLIMENRF_GLOBALS
#define SLIMENRF_GLOBALS

#include <zephyr/logging/log.h>

#include "retained.h"
#include "thread_priority.h"

#define USER_SHUTDOWN_ENABLED CONFIG_USER_SHUTDOWN // Allow user to use reset or sw0 to shutdown
#define MAG_ENABLED CONFIG_SENSOR_USE_MAG // Use magnetometer if it is present
#define IGNORE_RESET CONFIG_IGNORE_RESET // If sw0 available, don't change any reset behavior
#define WOM_USE_DCDC CONFIG_WOM_USE_DCDC // Use DCDC instead of LDO for WOM if it is more efficient

/* Sensor gyroscope, accelerometer, and magnetometer axes should align to the IMU body axes
 * SENSOR_QUATERNION_CORRECTION should align the sensor to the device following Android convention
 * On flat surface / face up:
 * Left from the perspective of the device / right from your perspective is +X
 * Front side (facing up) is +Z
 * Mounted on body / standing up:
 * Top side of the device is +Y
 * Front side (facing out) is +Z
 */

// TODO: not matching anymore
#if defined(CONFIG_BOARD_SLIMEVRMINI_P1_UF2) || defined(CONFIG_BOARD_SLIMEVRMINI_P2_UF2)
#define SENSOR_MAGNETOMETER_AXES_ALIGNMENT -mx, mz, -my
#define SENSOR_QUATERNION_CORRECTION 0.7071f, 0.7071f, 0.0f, 0.0f
#endif
#if defined(CONFIG_BOARD_SLIMEVRMINI_P4_UF2)
#define SENSOR_GYROSCOPE_AXES_ALIGNMENT gx, gy, gz
#define SENSOR_ACCELEROMETER_AXES_ALIGNMENT ax, ay, az
#define SENSOR_MAGNETOMETER_AXES_ALIGNMENT my, -mx, -mz
#define SENSOR_QUATERNION_CORRECTION 0.7071f, 0.0f, 0.0f, 0.7071f 
#endif

#if defined(CONFIG_BOARD_SLIMENRF_R1) || defined(CONFIG_BOARD_SLIMENRF_R2) || defined(CONFIG_BOARD_SLIMENRF_R3)
#define SENSOR_QUATERNION_CORRECTION 0.0f, 0.7071f, 0.7071f, 0.0f
#endif

#ifndef SENSOR_MAGNETOMETER_AXES_ALIGNMENT
#define SENSOR_MAGNETOMETER_AXES_ALIGNMENT my, -mx, -mz // mag axes alignment to sensor body
#endif
// Modify By QWQ
#ifndef SENSOR_QUATERNION_CORRECTION
#define SENSOR_QUATERNION_CORRECTION 0.0f, 1.0f, 0.0f, 0.0f // correction quat for sensor to mounting orientation
#endif

#endif
```

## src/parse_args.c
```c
/*
	SlimeVR Code is placed under the MIT license
	Copyright (c) 2025 SlimeVR Contributors

	Permission is hereby granted, free of charge, to any person obtaining a copy
	of this software and associated documentation files (the "Software"), to deal
	in the Software without restriction, including without limitation the rights
	to use, copy, modify, merge, publish, distribute, sublicense, and/or sell
	copies of the Software, and to permit persons to whom the Software is
	furnished to do so, subject to the following conditions:

	The above copyright notice and this permission notice shall be included in
	all copies or substantial portions of the Software.

	THE SOFTWARE IS PROVIDED "AS IS", WITHOUT WARRANTY OF ANY KIND, EXPRESS OR
	IMPLIED, INCLUDING BUT NOT LIMITED TO THE WARRANTIES OF MERCHANTABILITY,
	FITNESS FOR A PARTICULAR PURPOSE AND NONINFRINGEMENT. IN NO EVENT SHALL THE
	AUTHORS OR COPYRIGHT HOLDERS BE LIABLE FOR ANY CLAIM, DAMAGES OR OTHER
	LIABILITY, WHETHER IN AN ACTION OF CONTRACT, TORT OR OTHERWISE, ARISING FROM,
	OUT OF OR IN CONNECTION WITH THE SOFTWARE OR THE USE OR OTHER DEALINGS IN
	THE SOFTWARE.
*/
#include "parse_args.h"

#include <errno.h>
#include <ctype.h>
#include <limits.h>
#include <string.h>
#include <zephyr/sys/printk.h>

// Parse the command line to find its arguments.
// Original string is modified to terminate the arguments substrings.
// Returns the number of found arguments or zero.
size_t parse_argv(char *str, char *argv[], size_t size)
{
	size_t argc = 0;
	if (!strlen(str)) {
		return 0;
	}
	while (*str && *str == ' ') {
		str++;
	}
	if (!*str) {
		return 0;
	}
	argv[argc++] = str;
	while ((str = strchr(str, ' '))) {
		*str++ = '\0';
		while (*str && *str == ' ')
			str++;
		if (!*str) break;
		argv[argc++] = str;
		if (argc == size) {
			printk("Too many parameters (max %u)\n", size);
			return 0;
		}
	}
	// keep it POSIX style where argv[argc] is required to be NULL
	argv[argc] = NULL;
	return argc;
}

// Similar to implementation of strtoul from picolibc
uint32_t parse_uint(const char *str, uint8_t base)
{
	const char *s = str;
	unsigned long acc;
	int c;
	uint32_t cutoff;
	int neg = 0, any, cutlim;
	do {
		c = *s++;
	} while (isspace((unsigned char)c) != 0);
	if (c == '-') {
		neg = 1;
		c = *s++;
	} else if (c == '+') {
		c = *s++;
	}
	if (((base == 0) || (base == 16)) &&
	    (c == '0') && ((*s == 'x') || (*s == 'X'))) {
		c = s[1];
		s += 2;
		base = 16;
	}
	if (base == 0) {
		base = (c == '0') ? 8 : 10;
	}
	cutoff = (uint32_t)UINT32_MAX / (uint32_t)base;
	cutlim = (uint32_t)UINT32_MAX % (uint32_t)base;
	for (acc = 0, any = 0;; c = *s++) {
		if (isdigit((unsigned char)c) != 0) {
			c -= '0';
		} else if (isalpha((unsigned char)c) != 0) {
			c -= isupper((unsigned char)c) != 0 ? 'A' - 10 : 'a' - 10;
		} else {
			break;
		}
		if (c >= base) {
			break;
		}
		if ((any < 0) || (acc > cutoff) || ((acc == cutoff) && (c > cutlim))) {
			any = -1;
		} else {
			any = 1;
			acc *= base;
			acc += c;
		}
	}
	if (any < 0) {
		acc = UINT32_MAX;
		errno = ERANGE;
	} else if (neg != 0) {
		acc = -acc;
	}
	return acc;
}
```

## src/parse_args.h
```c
/*
	SlimeVR Code is placed under the MIT license
	Copyright (c) 2025 SlimeVR Contributors

	Permission is hereby granted, free of charge, to any person obtaining a copy
	of this software and associated documentation files (the "Software"), to deal
	in the Software without restriction, including without limitation the rights
	to use, copy, modify, merge, publish, distribute, sublicense, and/or sell
	copies of the Software, and to permit persons to whom the Software is
	furnished to do so, subject to the following conditions:

	The above copyright notice and this permission notice shall be included in
	all copies or substantial portions of the Software.

	THE SOFTWARE IS PROVIDED "AS IS", WITHOUT WARRANTY OF ANY KIND, EXPRESS OR
	IMPLIED, INCLUDING BUT NOT LIMITED TO THE WARRANTIES OF MERCHANTABILITY,
	FITNESS FOR A PARTICULAR PURPOSE AND NONINFRINGEMENT. IN NO EVENT SHALL THE
	AUTHORS OR COPYRIGHT HOLDERS BE LIABLE FOR ANY CLAIM, DAMAGES OR OTHER
	LIABILITY, WHETHER IN AN ACTION OF CONTRACT, TORT OR OTHERWISE, ARISING FROM,
	OUT OF OR IN CONNECTION WITH THE SOFTWARE OR THE USE OR OTHER DEALINGS IN
	THE SOFTWARE.
*/
#ifndef SLIMENRF_PARSE_ARGS
#define SLIMENRF_PARSE_ARGS

#include <stddef.h>
#include <stdint.h>

size_t parse_argv(char *str, char *argv[], size_t size);
uint32_t parse_uint(const char *ptr, uint8_t base);

#endif
```

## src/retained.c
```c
/*
 * Copyright (c) 2021 Nordic Semiconductor ASA
 *
 * SPDX-License-Identifier: Apache-2.0
 */

#include "retained.h"

#include <stdint.h>
#include <string.h>

#include <zephyr/kernel.h>
#include <zephyr/devicetree.h>
#include <zephyr/drivers/retained_mem.h>
#include <zephyr/sys/byteorder.h>
#include <zephyr/sys/crc.h>

#if DT_NODE_HAS_STATUS_OKAY(DT_ALIAS(retainedmemdevice))
#define MEMORY_REGION DT_PARENT(DT_ALIAS(retainedmemdevice))
#else
#error "retained_mem region not defined"
#endif

struct retained_data *retained = (struct retained_data *)DT_REG_ADDR(MEMORY_REGION);

#define RETAINED_CRC_OFFSET offsetof(struct retained_data, crc)
#define RETAINED_CHECKED_SIZE (RETAINED_CRC_OFFSET + sizeof(retained->crc))

bool retained_validate(void)
{
	/* The residue of a CRC is what you get from the CRC over the
	 * message catenated with its CRC.  This is the post-final-xor
	 * residue for CRC-32 (CRC-32/ISO-HDLC) which Zephyr calls
	 * crc32_ieee.
	 */
	const uint32_t residue = 0x2144df1c;
	uint32_t crc = crc32_ieee((const uint8_t *)retained,
				  RETAINED_CHECKED_SIZE);
	bool valid = (crc == residue);

	/* Check the build timestamp of the firmware that last updated
	 * the retained data.
	 */
	valid &= (retained->build_timestamp == BUILD_TIMESTAMP);

	/* If the CRC isn't valid or the build timestamp is different
	 * from the current build timestamp, reset the retained data.
	 */
	if (!valid) {
		memset(retained, 0, sizeof(struct retained_data));
	}

	/* Reset to accrue runtime from this session. */
	retained->uptime_latest = 0;

	/* Reset to accrue runtime from this session. */
	retained->uptime_latest = 0;

	return valid;
}

void retained_update(void)
{
	uint64_t now = k_uptime_ticks();

	retained->uptime_sum += (now - retained->uptime_latest);
	retained->uptime_latest = now;

	uint32_t crc = crc32_ieee((const uint8_t *)retained,
				  RETAINED_CRC_OFFSET);

	retained->crc = sys_cpu_to_le32(crc);
}
```

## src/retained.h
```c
/*
 * Copyright (c) 2021 Nordic Semiconductor ASA
 *
 * SPDX-License-Identifier: Apache-2.0
 */

#ifndef RETAINED_H_
#define RETAINED_H_

#include <stdbool.h>
#include <stddef.h>
#include <stdint.h>

struct retained_data {
	/* The build version of the firmware that last updated the
	 * retained data.
	 */
	uint32_t build_timestamp;

	/* The uptime from the current session the last time the
	 * retained data was updated.
	 */
	uint64_t uptime_latest;

	/* Cumulative uptime from all previous sessions up through
	 * uptime_latest of this session.
	 */
	uint64_t uptime_sum;

	/* Battery statistics.  Tracking for discharge curve only begins
	 * after ~3% discharged.  If battery_pptt has changed significantly
	 * compared to min_battery_pptt since the last update,
	 * the statistics are cleared and may be saved to NVS.
	 */
	int16_t max_battery_pptt;
	int16_t min_battery_pptt;

	/* Battery uptime from last retained update */
	uint64_t battery_uptime_latest;

	/* Cumulative runtime */
	uint64_t battery_runtime_sum;

	/* Last interval stored in NVS */
	int16_t battery_pptt_saved;
	uint64_t battery_runtime_saved;

	/* Calibrated discharge curve */
	int16_t battery_pptt_curve[18];

	uint8_t reboot_counter;
	uint8_t paired_addr[8];

	uint8_t sensor_data[128];

	float accelBias[3];
	float gyroBias[3];
	float magBias[3];
	float magBAinv[4][3];
	float accBAinv[4][3];

	uint8_t fusion_id; // fusion_data_stored
	uint8_t fusion_data[512];

	uint16_t imu_addr;
	uint16_t mag_addr;

	uint8_t imu_reg;
	uint8_t mag_reg;

	uint8_t settings[128];

	/* CRC used to validate the retained data.  This must be
	 * stored little-endian, and covers everything up to but not
	 * including this field.
	 */
	uint32_t crc;

	//QWriteDown data
	uint8_t qwritedown_data[256];
	uint8_t qwritedown_size;
};

/* Up to 1 KB of retained data allowed right now.
 */
#define RETAINED_SIZE (sizeof(struct retained_data))

/* For simplicity in the sample just allow anybody to see and
 * manipulate the retained state.
 */
extern struct retained_data *retained;

/* Check whether the retained data is valid, and if not reset it.
 *
 * @return true if and only if the data was valid and reflects state
 * from previous sessions.
 */
bool retained_validate(void);

/* Update any generic retained state and recalculate its checksum so
 * subsequent boots can verify the retained state.
 */
void retained_update(void);

#endif /* RETAINED_H_ */
```

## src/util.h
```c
/*
	SlimeVR Code is placed under the MIT license
	Copyright (c) 2025 SlimeVR Contributors

	Permission is hereby granted, free of charge, to any person obtaining a copy
	of this software and associated documentation files (the "Software"), to deal
	in the Software without restriction, including without limitation the rights
	to use, copy, modify, merge, publish, distribute, sublicense, and/or sell
	copies of the Software, and to permit persons to whom the Software is
	furnished to do so, subject to the following conditions:

	The above copyright notice and this permission notice shall be included in
	all copies or substantial portions of the Software.

	THE SOFTWARE IS PROVIDED "AS IS", WITHOUT WARRANTY OF ANY KIND, EXPRESS OR
	IMPLIED, INCLUDING BUT NOT LIMITED TO THE WARRANTIES OF MERCHANTABILITY,
	FITNESS FOR A PARTICULAR PURPOSE AND NONINFRINGEMENT. IN NO EVENT SHALL THE
	AUTHORS OR COPYRIGHT HOLDERS BE LIABLE FOR ANY CLAIM, DAMAGES OR OTHER
	LIABILITY, WHETHER IN AN ACTION OF CONTRACT, TORT OR OTHERWISE, ARISING FROM,
	OUT OF OR IN CONNECTION WITH THE SOFTWARE OR THE USE OR OTHER DEALINGS IN
	THE SOFTWARE.
*/
#ifndef SLIMENRF_UTILS
#define SLIMENRF_UTILS

#ifndef M_PI
#define M_PI 3.141592653589793238462643383279502884f
#endif

#ifndef EPS
#define EPS 1e-6f
#endif

// Saturate int to 16 bits
// Optimized to a single ARM assembler instruction
#define SATURATE_INT16(x) ((x) > 32767 ? 32767 : ((x) < -32768 ? -32768 : (x)))

#define SATURATE_UINT11(x) ((x) > 2047 ? 2047 : ((x) < 0 ? 0 : (x)))
#define SATURATE_UINT10(x) ((x) > 1023 ? 1023 : ((x) < 0 ? 0 : (x)))

#define TO_FIXED_15(x) ((int16_t)SATURATE_INT16((x) * (1 << 15)))
#define TO_FIXED_11(x) ((int16_t)SATURATE_INT16((x) * (1 << 11)))
#define TO_FIXED_10(x) ((int16_t)SATURATE_INT16((x) * (1 << 10)))
#define TO_FIXED_7(x) ((int16_t)SATURATE_INT16((x) * (1 << 7)))
#define FIXED_15_TO_DOUBLE(x) (((double)(x)) / (1 << 15))
#define FIXED_11_TO_DOUBLE(x) (((double)(x)) / (1 << 11))
#define FIXED_10_TO_DOUBLE(x) (((double)(x)) / (1 << 10))
#define FIXED_7_TO_DOUBLE(x) (((double)(x)) / (1 << 7))

#define CONST_EARTH_GRAVITY 9.80665f

void q_normalize(const float* q, float* out);
void q_multiply(const float* x, const float* y, float* out);
void q_conj(const float* q, float* out);
void q_negate(const float* q, float* out);
float q_diff_mag(const float* x, const float* y);
void v_rotate(const float* v, const float* q, float* out);
float v_avg(const float* a);
float v_diff_mag(const float* a, const float* b);
bool q_epsilon(const float* x, const float* y, float eps);
bool v_epsilon(const float* a, const float* b, float eps);

// TODO: does this need to be moved?
void apply_BAinv(float xyz[3], float BAinv[4][3]);

void q_fem(const float* q, float* out);
void q_iem(const float* v, float* out);

#endif
```
